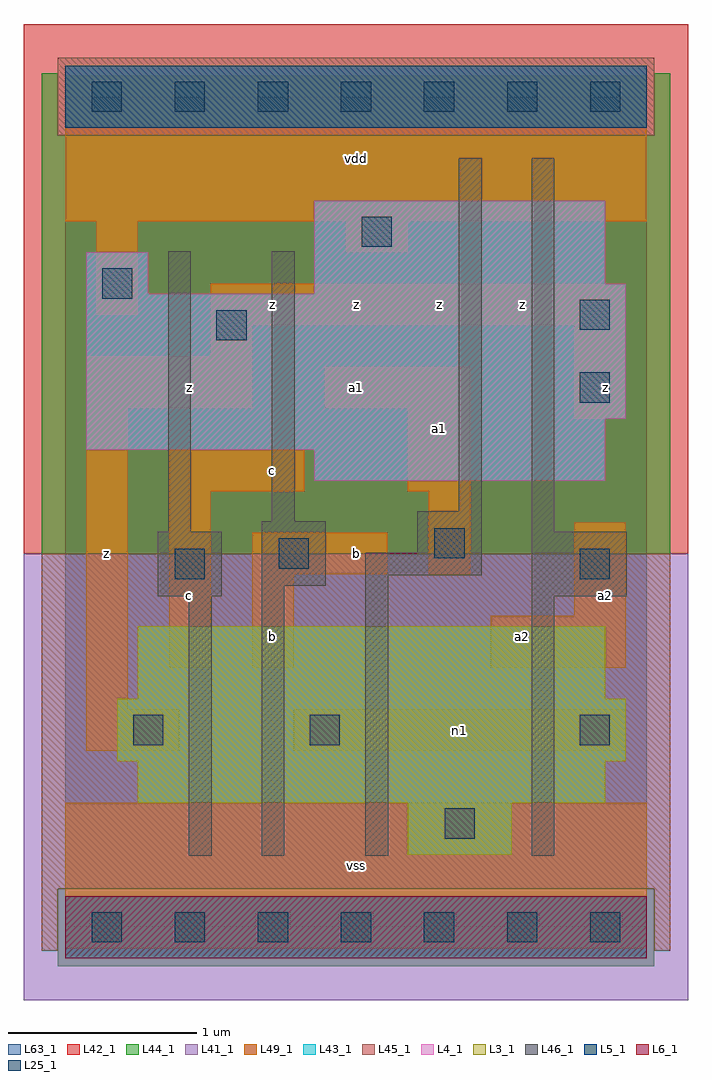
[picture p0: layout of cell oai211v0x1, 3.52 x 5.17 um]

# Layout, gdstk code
import gdstk
lib = gdstk.Library(unit=1e-6, precision=1e-09)
def R(c, l, rs):  # rectangles x0, y0, x1, y1
    for r in rs: c.add(gdstk.rectangle(r[:2], r[2:], *l))
def A(c, l, x, y, w, h, nx, ny, dx, dy):  # array of equal rectangles
    R(c, l, [(x+i*dx, y+j*dy, x+i*dx+w, y+j*dy+h) for i in range(nx) for j in range(ny)])
L3_1 = (3, 1)
L4_1 = (4, 1)
L5_1 = (5, 1)
L6_1 = (6, 1)
L25_1 = (25, 1)
L41_1 = (41, 1)
L42_1 = (42, 1)
L43_1 = (43, 1)
L44_1 = (44, 1)
L45_1 = (45, 1)
L46_1 = (46, 1)
L49_1 = (49, 1)
L63_1 = (63, 1)

oai211v0x1 = lib.new_cell('oai211v0x1')
R(oai211v0x1, L3_1, [(1.815,0.385,2.365,0.66), (0.385,0.66,2.86,0.88), (0.275,0.88,2.97,1.21), (0.385,1.21,2.86,1.595)])
R(oai211v0x1, L4_1, [(1.32,2.365,2.86,2.53), (0.11,2.53,2.86,2.695), (0.11,2.695,2.97,3.355), (0.11,3.355,0.44,3.575), (1.32,3.355,2.97,3.41), (1.32,3.41,2.86,3.85)])
R(oai211v0x1, L5_1, [(0,4.235,3.08,4.565)])
R(oai211v0x1, L6_1, [(0,-0.165,3.08,0.165)])
A(oai211v0x1, L25_1, 0.14, -0.08, 0.16, 0.16, 7, 2, 0.44, 4.4)
R(oai211v0x1, L25_1, [(2.01,0.47,2.17,0.63), (0.36,0.965,0.52,1.125), (1.295,0.965,1.455,1.125), (2.725,0.965,2.885,1.125), (0.58,1.845,0.74,2.005), (2.725,1.845,2.885,2.005), (1.13,1.9,1.29,2.06), (1.955,1.955,2.115,2.115), (2.725,2.78,2.885,2.94), (0.8,3.11,0.96,3.27), (2.725,3.165,2.885,3.325), (0.195,3.33,0.355,3.49), (1.57,3.605,1.73,3.765)])
R(oai211v0x1, L41_1, [(-0.22,-0.385,3.3,1.98)])
R(oai211v0x1, L42_1, [(-0.22,1.98,3.3,4.785)])
R(oai211v0x1, L43_1, [(0,-0.165,3.08,0.165), (1.815,0.385,2.365,0.66), (0.385,0.66,2.86,0.88), (0.275,0.88,2.97,1.21), (0.385,1.21,2.86,1.595), (1.32,2.365,2.86,2.53), (0.11,2.53,2.86,2.695), (0.11,2.695,2.97,3.355), (0.11,3.355,0.44,3.575), (1.32,3.355,2.97,3.41), (1.32,3.41,2.86,3.85), (0,4.235,3.08,4.565)])
R(oai211v0x1, L44_1, [(-0.04,-0.205,3.12,0.205), (-0.125,1.98,3.205,4.195), (-0.125,4.195,-0.04,4.525), (3.12,4.195,3.205,4.525)])
R(oai211v0x1, L45_1, [(-0.125,-0.125,-0.04,0.205), (3.12,-0.125,3.205,0.205), (-0.125,0.205,3.205,1.98), (-0.04,4.195,3.12,4.605)])
R(oai211v0x1, L46_1, [(0.655,0.38,0.775,1.755), (1.04,0.38,1.16,1.81), (1.59,0.38,1.71,1.865), (2.47,0.38,2.59,1.755), (0.49,1.755,0.83,2.095), (2.47,1.755,2.975,2.095), (1.04,1.81,1.38,2.15), (1.59,1.865,2.205,1.985), (1.865,1.985,2.205,2.205), (0.545,2.095,0.665,3.58), (2.47,2.095,2.59,4.075), (1.095,2.15,1.215,3.58), (2.085,2.205,2.205,4.075)])
R(oai211v0x1, L49_1, [(0,-0.11,3.08,0.66), (0.11,0.935,0.605,1.155), (1.21,0.935,2.97,1.155), (0.11,1.155,0.33,2.75), (0.55,1.375,0.77,2.31), (0.99,1.375,1.21,1.87), (2.255,1.375,2.97,1.65), (2.695,1.65,2.97,2.145), (0.99,1.87,1.705,2.09), (1.925,1.87,2.145,2.31), (0.55,2.31,1.265,2.53), (1.815,2.31,2.145,2.75), (2.695,2.695,2.97,3.19), (0.11,2.75,0.99,3.025), (1.375,2.75,2.145,2.97), (0.77,3.025,0.99,3.19), (0.77,3.19,2.97,3.41), (0.165,3.245,0.385,3.74), (1.485,3.575,1.815,3.74), (0,3.74,3.08,4.51)])
R(oai211v0x1, L63_1, [(0,0,3.08,4.4)])
oai211v0x1.add(gdstk.Label('z', (0.22,1.98), layer=49, texttype=1))
oai211v0x1.add(gdstk.Label('c', (0.66,1.76), layer=49, texttype=1))
oai211v0x1.add(gdstk.Label('z', (0.66,2.86), layer=49, texttype=1))
oai211v0x1.add(gdstk.Label('vss', (1.54,0.33), layer=49, texttype=1))
oai211v0x1.add(gdstk.Label('b', (1.1,1.54), layer=49, texttype=1))
oai211v0x1.add(gdstk.Label('c', (1.1,2.42), layer=49, texttype=1))
oai211v0x1.add(gdstk.Label('b', (1.54,1.98), layer=49, texttype=1))
oai211v0x1.add(gdstk.Label('a1', (1.54,2.86), layer=49, texttype=1))
oai211v0x1.add(gdstk.Label('z', (1.1,3.3), layer=49, texttype=1))
oai211v0x1.add(gdstk.Label('z', (1.54,3.3), layer=49, texttype=1))
oai211v0x1.add(gdstk.Label('vdd', (1.54,4.07), layer=49, texttype=1))
oai211v0x1.add(gdstk.Label('a2', (2.42,1.54), layer=49, texttype=1))
oai211v0x1.add(gdstk.Label('a1', (1.98,2.64), layer=49, texttype=1))
oai211v0x1.add(gdstk.Label('z', (1.98,3.3), layer=49, texttype=1))
oai211v0x1.add(gdstk.Label('z', (2.42,3.3), layer=49, texttype=1))
oai211v0x1.add(gdstk.Label('n1', (2.09,1.045), layer=49, texttype=1))
oai211v0x1.add(gdstk.Label('a2', (2.86,1.76), layer=49, texttype=1))
oai211v0x1.add(gdstk.Label('z', (2.86,2.86), layer=49, texttype=1))

lib.write_gds('oai211v0x1.gds')
